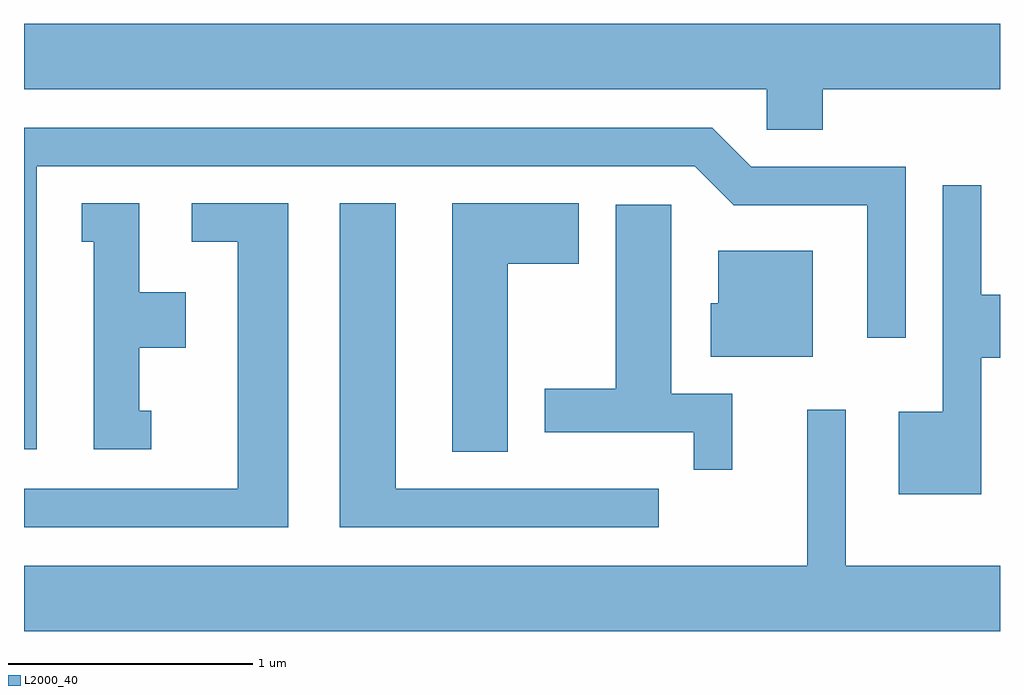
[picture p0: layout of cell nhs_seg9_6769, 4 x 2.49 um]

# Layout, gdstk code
import gdstk
lib = gdstk.Library(unit=1e-6, precision=1e-09)
def P(c, l, *ps):  # polygons
    for p in ps: c.add(gdstk.Polygon(p, *l))
L2000_40 = (2000, 40)

nhs_seg9_6769 = lib.new_cell('nhs_seg9_6769')
P(nhs_seg9_6769, L2000_40, [(388.884,1971.836),(389.611,1971.836),(389.611,1972.104),(385.611,1972.104),(385.611,1971.836),(388.656,1971.836),(388.656,1971.671),(388.884,1971.671)],
  [(385.664,1971.521),(388.359,1971.521),(388.519,1971.361),(389.066,1971.361),(389.066,1970.818),(389.224,1970.818),(389.224,1971.519),(388.592,1971.519),(388.432,1971.679),(385.611,1971.679),(385.611,1970.361),(385.664,1970.361)],
  [(389.534,1970.736),(389.611,1970.736),(389.611,1970.994),(389.534,1970.994),(389.534,1971.443),(389.376,1971.443),(389.376,1970.514),(389.196,1970.514),(389.196,1970.176),(389.534,1970.176)],
  [(386.694,1971.369),(386.298,1971.369),(386.298,1971.211),(386.486,1971.211),(386.486,1970.199),(385.611,1970.199),(385.611,1970.041),(386.694,1970.041)],
  [(388.213,1970.199),(387.134,1970.199),(387.134,1971.369),(386.906,1971.369),(386.906,1970.041),(388.213,1970.041)],
  [(387.594,1971.121),(387.884,1971.121),(387.884,1971.369),(387.366,1971.369),(387.366,1970.351),(387.594,1970.351)],
  [(386.133,1970.519),(386.084,1970.519),(386.084,1970.776),(386.274,1970.776),(386.274,1971.004),(386.084,1971.004),(386.084,1971.369),(385.848,1971.369),(385.848,1971.211),(385.896,1971.211),(385.896,1970.361),(386.133,1970.361)],
  [(388.514,1970.589),(388.264,1970.589),(388.264,1971.364),(388.036,1971.364),(388.036,1970.609),(387.746,1970.609),(387.746,1970.431),(388.356,1970.431),(388.356,1970.278),(388.514,1970.278)],
  [(388.844,1971.174),(388.456,1971.174),(388.456,1970.959),(388.426,1970.959),(388.426,1970.741),(388.844,1970.741)],
  [(389.611,1969.884),(388.979,1969.884),(388.979,1970.523),(388.821,1970.523),(388.821,1969.884),(385.611,1969.884),(385.611,1969.616),(389.611,1969.616)])

lib.write_gds('nhs_seg9_6769.gds')
